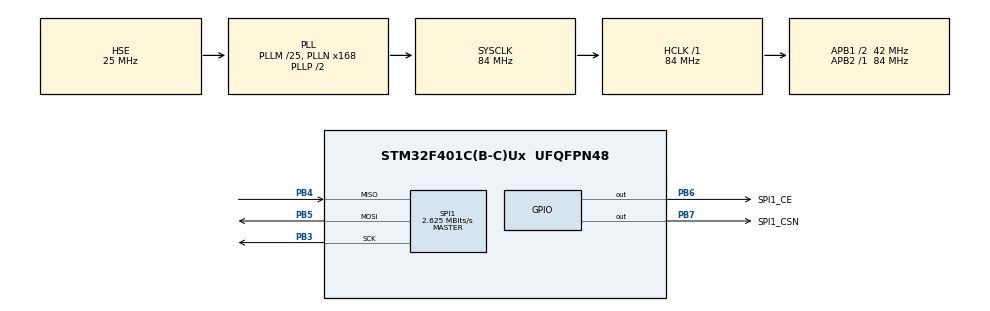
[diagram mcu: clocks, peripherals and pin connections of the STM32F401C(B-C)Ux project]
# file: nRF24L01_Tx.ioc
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Mcu.Family=STM32F4
Mcu.Name=STM32F401C(B-C)Ux
Mcu.Package=UFQFPN48
NVIC.PriorityGroup=NVIC_PRIORITYGROUP_4
PA13.Mode=Serial_Wire
PA13.Signal=SYS_JTMS-SWDIO
PA14.Mode=Serial_Wire
PA14.Signal=SYS_JTCK-SWCLK
PB3.Mode=Full_Duplex_Master
PB3.Signal=SPI1_SCK
PB4.Mode=Full_Duplex_Master
PB4.Signal=SPI1_MISO
PB5.Mode=Full_Duplex_Master
PB5.Signal=SPI1_MOSI
PB6.GPIO_Label=SPI1_CE
PB6.Signal=GPIO_Output
PB7.GPIO_Label=SPI1_CSN
PB7.Signal=GPIO_Output
PH0\ -\ OSC_IN.Mode=HSE-External-Oscillator
PH0\ -\ OSC_IN.Signal=RCC_OSC_IN
PH1\ -\ OSC_OUT.Mode=HSE-External-Oscillator
PH1\ -\ OSC_OUT.Signal=RCC_OSC_OUT
ProjectManager.HeapSize=0x200
ProjectManager.StackSize=0x400
ProjectManager.TargetToolchain=STM32CubeIDE
RCC.48MHZClocksFreq_Value=42000000
RCC.AHBFreq_Value=84000000
RCC.APB1CLKDivider=RCC_HCLK_DIV2
RCC.APB1Freq_Value=42000000
RCC.APB1TimFreq_Value=84000000
RCC.APB2Freq_Value=84000000
RCC.APB2TimFreq_Value=84000000
RCC.CortexFreq_Value=84000000
RCC.HCLKFreq_Value=84000000
RCC.HSE_VALUE=25000000
RCC.HSI_VALUE=16000000
RCC.LSE_VALUE=32768
RCC.PLLM=25
RCC.PLLN=168
RCC.PLLSourceVirtual=RCC_PLLSOURCE_HSE
RCC.SYSCLKFreq_VALUE=84000000
RCC.SYSCLKSource=RCC_SYSCLKSOURCE_PLLCLK
RCC.VCOOutputFreq_Value=168000000
SPI1.BaudRatePrescaler=SPI_BAUDRATEPRESCALER_32
SPI1.CalculateBaudRate=2.625 MBits/s
SPI1.Direction=SPI_DIRECTION_2LINES
SPI1.Mode=SPI_MODE_MASTER
SPI1.VirtualType=VM_MASTER
board=custom

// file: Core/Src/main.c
/* USER CODE BEGIN Header */
/**
  ******************************************************************************
  * @file           : main.c
  * @brief          : Main program body
  ******************************************************************************
  * @attention
  *
  * <h2><center>&copy; Copyright (c) 2023 STMicroelectronics.
  * All rights reserved.</center></h2>
  *
  * This software component is licensed by ST under BSD 3-Clause license,
  * the "License"; You may not use this file except in compliance with the
  * License. You may obtain a copy of the License at:
  *                        opensource.org/licenses/BSD-3-Clause
  *
  ******************************************************************************
  */
/* USER CODE END Header */
#include "main.h"
#include "spi.h"
#include "gpio.h"

/* USER CODE BEGIN Includes */

	#include "NRF24L01.h"

/* USER CODE END Includes */

/* USER CODE BEGIN PM */

	/* nRF24l01 */

		uint8_t Rxaddr[5] = {'S','T','E','A','M'};
		uint8_t TxData[8] = {0};

/* USER CODE END PM */

void SystemClock_Config(void);
/* USER CODE BEGIN PFP */

	/* nRF24l01_Master */

		void nRF24l01_Master(){
			  TxData[0] = 0;
			  TxData[1] = 1;
			  TxData[2] = 2;
			  TxData[3] = 3;
			  TxData[4] = 4;
			  TxData[5] = 5;
			  TxData[6] = 6;
			  TxData[7] = 10;
				NRF24_Transmit(TxData, 8);//NRF24_Transmit(data, size)
				HAL_Delay(5);
		}

/* USER CODE END PFP */

int main(void)
{

  /* MCU Configuration--------------------------------------------------------*/

  /* Reset of all peripherals, Initializes the Flash interface and the Systick. */
  HAL_Init();

  /* Configure the system clock */
  SystemClock_Config();

  /* Initialize all configured peripherals */
  MX_GPIO_Init();
  MX_SPI1_Init();
  /* USER CODE BEGIN 2 */

  NRF24_Init();
  NRF24_TxMode(Rxaddr, 112, 8);
  HAL_Delay(50);

  /* USER CODE END 2 */

  /* Infinite loop */
  while (1)
  {

    /* USER CODE BEGIN 3 */

	  	  /* DATA MASTER */

	      	  nRF24l01_Master();

  }
  /* USER CODE END 3 */
}

void SystemClock_Config(void)
{
  RCC_OscInitTypeDef RCC_OscInitStruct = {0};
  RCC_ClkInitTypeDef RCC_ClkInitStruct = {0};

  /** Configure the main internal regulator output voltage
  */
  __HAL_RCC_PWR_CLK_ENABLE();
  __HAL_PWR_VOLTAGESCALING_CONFIG(PWR_REGULATOR_VOLTAGE_SCALE2);
  /** Initializes the RCC Oscillators according to the specified parameters
  * in the RCC_OscInitTypeDef structure.
  */
  RCC_OscInitStruct.OscillatorType = RCC_OSCILLATORTYPE_HSE;
  RCC_OscInitStruct.HSEState = RCC_HSE_ON;
  RCC_OscInitStruct.PLL.PLLState = RCC_PLL_ON;
  RCC_OscInitStruct.PLL.PLLSource = RCC_PLLSOURCE_HSE;
  RCC_OscInitStruct.PLL.PLLM = 25;
  RCC_OscInitStruct.PLL.PLLN = 168;
  RCC_OscInitStruct.PLL.PLLP = RCC_PLLP_DIV2;
  RCC_OscInitStruct.PLL.PLLQ = 4;
  if (HAL_RCC_OscConfig(&RCC_OscInitStruct) != HAL_OK)
  {
    Error_Handler();
  }
  /** Initializes the CPU, AHB and APB buses clocks
  */
  RCC_ClkInitStruct.ClockType = RCC_CLOCKTYPE_HCLK|RCC_CLOCKTYPE_SYSCLK
                              |RCC_CLOCKTYPE_PCLK1|RCC_CLOCKTYPE_PCLK2;
  RCC_ClkInitStruct.SYSCLKSource = RCC_SYSCLKSOURCE_PLLCLK;
  RCC_ClkInitStruct.AHBCLKDivider = RCC_SYSCLK_DIV1;
  RCC_ClkInitStruct.APB1CLKDivider = RCC_HCLK_DIV2;
  RCC_ClkInitStruct.APB2CLKDivider = RCC_HCLK_DIV1;

  if (HAL_RCC_ClockConfig(&RCC_ClkInitStruct, FLASH_LATENCY_2) != HAL_OK)
  {
    Error_Handler();
  }
}

void Error_Handler(void)
{
  __disable_irq();
  while (1)
  {
  }
}

/************************ (C) COPYRIGHT STMicroelectronics *****END OF FILE****/
